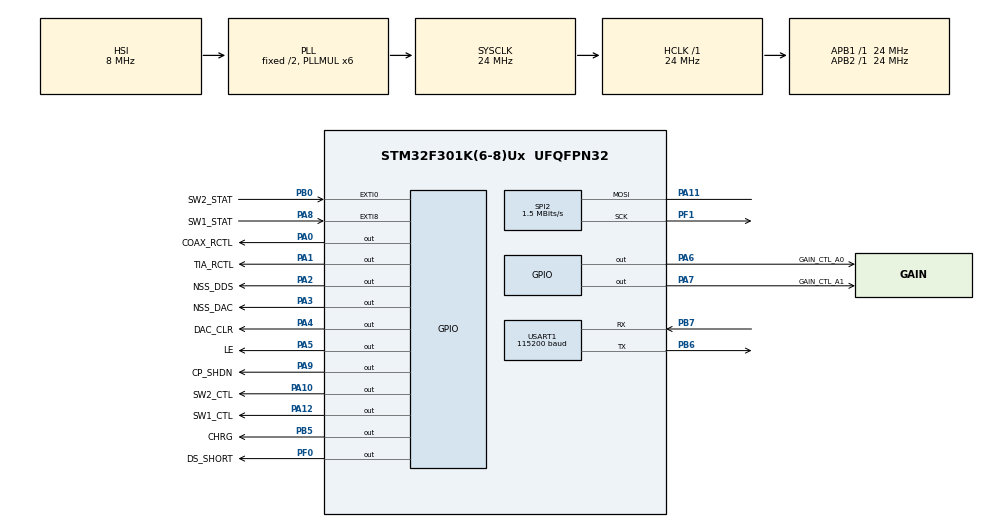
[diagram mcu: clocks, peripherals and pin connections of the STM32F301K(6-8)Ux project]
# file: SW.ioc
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CRC.CRCLength=CRC_POLYLENGTH_8B
CRC.DefaultInitValueUse=DEFAULT_INIT_VALUE_DISABLE
CRC.DefaultPolynomialUse=DEFAULT_POLYNOMIAL_DISABLE
CRC.InputDataFormat=CRC_INPUTDATA_FORMAT_HALFWORDS
Dma.Request0=USART1_RX
Dma.USART1_RX.0.Direction=DMA_PERIPH_TO_MEMORY
Dma.USART1_RX.0.Instance=DMA1_Channel5
Dma.USART1_RX.0.MemDataAlignment=DMA_MDATAALIGN_BYTE
Dma.USART1_RX.0.MemInc=DMA_MINC_ENABLE
Dma.USART1_RX.0.Mode=DMA_NORMAL
Dma.USART1_RX.0.PeriphDataAlignment=DMA_PDATAALIGN_BYTE
Dma.USART1_RX.0.PeriphInc=DMA_PINC_DISABLE
Dma.USART1_RX.0.Priority=DMA_PRIORITY_LOW
Mcu.Family=STM32F3
Mcu.Name=STM32F301K(6-8)Ux
Mcu.Package=UFQFPN32
NVIC.DMA1_Channel5_IRQn=true\:2\:0\:true\:false\:true\:false\:true
NVIC.EXTI0_IRQn=true\:0\:0\:false\:false\:true\:true\:true
NVIC.EXTI9_5_IRQn=true\:0\:0\:false\:false\:true\:true\:true
NVIC.PriorityGroup=NVIC_PRIORITYGROUP_4
NVIC.USART1_IRQn=true\:1\:0\:true\:false\:true\:true\:true
PA0.GPIO_Label=COAX_RCTL
PA0.Signal=GPIO_Output
PA1.GPIO_Label=TIA_RCTL
PA1.Signal=GPIO_Output
PA10.GPIO_Label=SW2_CTL
PA10.GPIO_ModeDefaultOutputPP=GPIO_MODE_OUTPUT_OD
PA10.GPIO_PuPd=GPIO_PULLUP
PA10.GPIO_Speed=GPIO_SPEED_FREQ_LOW
PA10.PinState=GPIO_PIN_SET
PA10.Signal=GPIO_Output
PA11.Mode=Simplex_Bidirectional_Master
PA11.Signal=SPI2_MOSI
PA12.GPIO_Label=SW1_CTL
PA12.GPIO_ModeDefaultOutputPP=GPIO_MODE_OUTPUT_OD
PA12.GPIO_PuPd=GPIO_PULLUP
PA12.GPIO_Speed=GPIO_SPEED_FREQ_LOW
PA12.PinState=GPIO_PIN_SET
PA12.Signal=GPIO_Output
PA13.Mode=JTAG_5_pins
PA13.Signal=SYS_JTMS-SWDIO
PA14.Mode=JTAG_5_pins
PA14.Signal=SYS_JTCK-SWCLK
PA15.Mode=JTAG_5_pins
PA15.Signal=SYS_JTDI
PA2.GPIO_Label=NSS_DDS
PA2.PinState=GPIO_PIN_SET
PA2.Signal=GPIO_Output
PA3.GPIO_Label=NSS_DAC
PA3.PinState=GPIO_PIN_SET
PA3.Signal=GPIO_Output
PA4.GPIO_Label=DAC_CLR
PA4.PinState=GPIO_PIN_SET
PA4.Signal=GPIO_Output
PA5.GPIO_Label=LE
PA5.Signal=GPIO_Output
PA6.GPIO_Label=GAIN_CTL_A0
PA6.Signal=GPIO_Output
PA7.GPIO_Label=GAIN_CTL_A1
PA7.Signal=GPIO_Output
PA8.GPIO_Label=SW1_STAT
PA8.Signal=GPXTI8
PA9.GPIO_Label=CP_SHDN
PA9.PinState=GPIO_PIN_SET
PA9.Signal=GPIO_Output
PB0.GPIO_Label=SW2_STAT
PB0.Signal=GPXTI0
PB3.Mode=JTAG_5_pins
PB3.Signal=SYS_JTDO-TRACESWO
PB4.Mode=JTAG_5_pins
PB4.Signal=SYS_NJTRST
PB5.GPIO_Label=CHRG
PB5.Signal=GPIO_Output
PB6.Mode=Asynchronous
PB6.Signal=USART1_TX
PB7.Mode=Asynchronous
PB7.Signal=USART1_RX
PF0-OSC_IN.GPIO_Label=DS_SHORT
PF0-OSC_IN.Signal=GPIO_Output
PF1-OSC_OUT.Mode=Simplex_Bidirectional_Master
PF1-OSC_OUT.Signal=SPI2_SCK
ProjectManager.HeapSize=0x200
ProjectManager.StackSize=0x400
ProjectManager.TargetToolchain=MDK-ARM V5
RCC.AHBFreq_Value=24000000
RCC.APB1Freq_Value=24000000
RCC.APB1TimFreq_Value=24000000
RCC.APB2Freq_Value=24000000
RCC.APB2TimFreq_Value=24000000
RCC.CortexFreq_Value=24000000
RCC.HCLKFreq_Value=24000000
RCC.HSE_VALUE=8000000
RCC.HSI_VALUE=8000000
RCC.PLLMUL=RCC_PLL_MUL6
RCC.RCC_MCOSource=RCC_MCO1SOURCE_PLLCLK
RCC.SYSCLKFreq_VALUE=24000000
RCC.SYSCLKSourceVirtual=RCC_SYSCLKSOURCE_PLLCLK
SPI2.BaudRatePrescaler=SPI_BAUDRATEPRESCALER_16
SPI2.CLKPolarity=SPI_POLARITY_HIGH
SPI2.CalculateBaudRate=1.5 MBits/s
SPI2.DataSize=SPI_DATASIZE_8BIT
SPI2.Direction=SPI_DIRECTION_1LINE
SPI2.Mode=SPI_MODE_MASTER
SPI2.NSSPMode=SPI_NSS_PULSE_DISABLE
SPI2.VirtualType=VM_MASTER
USART1.BaudRate=115200
USART1.Parity=PARITY_NONE
USART1.VirtualMode-Asynchronous=VM_ASYNC
VP_CRC_VS_CRC.Mode=CRC_Activate
board=custom

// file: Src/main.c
/* USER CODE BEGIN Header */
/**
  ******************************************************************************
  * @file           : main.c
  * @brief          : Main program body
  ******************************************************************************
  * @attention
  *
  * <h2><center>&copy; Copyright (c) 2019 STMicroelectronics.
  * All rights reserved.</center></h2>
  *
  * This software component is licensed by ST under BSD 3-Clause license,
  * the "License"; You may not use this file except in compliance with the
  * License. You may obtain a copy of the License at:
  *                        opensource.org/licenses/BSD-3-Clause
  *
  ******************************************************************************
  */
/* USER CODE END Header */

#include "main.h"
#include "crc.h"
#include "dma.h"
#include "spi.h"
#include "usart.h"
#include "gpio.h"

/* USER CODE BEGIN Includes */
#include "ad5663.h"
#include "ad9833.h"
#include "protocol.h"
#include <string.h>

/* USER CODE END Includes */

/* USER CODE BEGIN PV */
AD5663_TypeDef ad5663 = {0};
_FRAME_TypeDef rx_frame = {0};
_FRAME_TypeDef tx_frame = {0};
SystemState_Typedef system;
uint8_t error = ERRCODE_NOERR;

/* USER CODE END PV */

void SystemClock_Config(void);

int main(void)
{

  /* MCU Configuration--------------------------------------------------------*/

  /* Reset of all peripherals, Initializes the Flash interface and the Systick. */
  HAL_Init();

  /* Configure the system clock */
  SystemClock_Config();

  __disable_irq();

  /* Initialize all configured peripherals */
  MX_GPIO_Init();
  MX_DMA_Init();
  MX_SPI2_Init();
  MX_USART1_UART_Init();
  MX_CRC_Init();
  /* USER CODE BEGIN 2 */
  SetGain(_1V_mA);
  SetMainSwitchState(OPEN);

  ad5663.WriteRegister   = WriteRegister;
  ad5663.Clear           = Clear;
  ad5663.reset_mode      = SOFT;
  ad5663.DAC_A_latch     = HW;
  ad5663.DAC_B_latch     = HW;
  ad5663.DAC_A_pwdn_mode = NORMAL_OP;
  ad5663.DAC_B_pwdn_mode = NORMAL_OP;

  AD5663_Reset(&ad5663);

  system.high_threshold = 65535;
  AD5663_SetInputCode(&ad5663, AD5663_DAC_B_ADDR, AD5663_COMM_WRITE, system.high_threshold);

  __HAL_GPIO_EXTI_CLEAR_IT(GPIO_PIN_0);
  __HAL_GPIO_EXTI_CLEAR_IT(GPIO_PIN_8);
  HAL_NVIC_ClearPendingIRQ(EXTI0_IRQn);
  HAL_NVIC_ClearPendingIRQ(EXTI9_5_IRQn);

  __enable_irq();

  SetCmpLatchState(NORMAL);
  HAL_Delay(1);
  SetCmpLatchState(LATCHED);
  HAL_Delay(1);
  SetSrcCurrentPath(COAX);

  AD9833_SetRegisterValue(0x2100);
  AD9833_SetRegisterValue(0x4DB8);
  AD9833_SetRegisterValue(0x400E);
  AD9833_SetRegisterValue(0xC000);
  AD9833_SetRegisterValue(0x2000);

  HAL_UART_Receive_DMA(&huart1, (uint8_t*)&rx_frame, sizeof(rx_frame));
  /* USER CODE END 2 */

  /* Infinite loop */
  /* USER CODE BEGIN WHILE */
  while (1)
  {
    HAL_PWR_EnterSLEEPMode(PWR_MAINREGULATOR_ON, PWR_SLEEPENTRY_WFI);
    /* USER CODE END WHILE */

  }
}

void SystemClock_Config(void)
{
  RCC_OscInitTypeDef RCC_OscInitStruct = {0};
  RCC_ClkInitTypeDef RCC_ClkInitStruct = {0};
  RCC_PeriphCLKInitTypeDef PeriphClkInit = {0};

  /** Initializes the CPU, AHB and APB busses clocks
  */
  RCC_OscInitStruct.OscillatorType = RCC_OSCILLATORTYPE_HSI;
  RCC_OscInitStruct.HSIState = RCC_HSI_ON;
  RCC_OscInitStruct.HSICalibrationValue = RCC_HSICALIBRATION_DEFAULT;
  RCC_OscInitStruct.PLL.PLLState = RCC_PLL_ON;
  RCC_OscInitStruct.PLL.PLLSource = RCC_PLLSOURCE_HSI;
  RCC_OscInitStruct.PLL.PLLMUL = RCC_PLL_MUL6;
  if (HAL_RCC_OscConfig(&RCC_OscInitStruct) != HAL_OK)
  {
    Error_Handler();
  }
  /** Initializes the CPU, AHB and APB busses clocks
  */
  RCC_ClkInitStruct.ClockType = RCC_CLOCKTYPE_HCLK|RCC_CLOCKTYPE_SYSCLK
                              |RCC_CLOCKTYPE_PCLK1|RCC_CLOCKTYPE_PCLK2;
  RCC_ClkInitStruct.SYSCLKSource = RCC_SYSCLKSOURCE_PLLCLK;
  RCC_ClkInitStruct.AHBCLKDivider = RCC_SYSCLK_DIV1;
  RCC_ClkInitStruct.APB1CLKDivider = RCC_HCLK_DIV1;
  RCC_ClkInitStruct.APB2CLKDivider = RCC_HCLK_DIV1;

  if (HAL_RCC_ClockConfig(&RCC_ClkInitStruct, FLASH_LATENCY_0) != HAL_OK)
  {
    Error_Handler();
  }
  PeriphClkInit.PeriphClockSelection = RCC_PERIPHCLK_USART1;
  PeriphClkInit.Usart1ClockSelection = RCC_USART1CLKSOURCE_PCLK1;
  if (HAL_RCCEx_PeriphCLKConfig(&PeriphClkInit) != HAL_OK)
  {
    Error_Handler();
  }
}

/* USER CODE BEGIN 4 */
void SetGain(GAIN_TypeDef gain)
{
    switch (gain)
    {
        case _1V_mA:
            HAL_GPIO_WritePin(GAIN_CTL_A0_GPIO_Port, GAIN_CTL_A0_Pin, GPIO_PIN_SET);
            HAL_GPIO_WritePin(GAIN_CTL_A0_GPIO_Port, GAIN_CTL_A1_Pin, GPIO_PIN_RESET);
            break;
        case _10V_mA:
            HAL_GPIO_WritePin(GAIN_CTL_A0_GPIO_Port, GAIN_CTL_A1_Pin, GPIO_PIN_SET);
            HAL_GPIO_WritePin(GAIN_CTL_A0_GPIO_Port, GAIN_CTL_A0_Pin, GPIO_PIN_RESET);
            break;
        case _100V_mA:
            HAL_GPIO_WritePin(GAIN_CTL_A0_GPIO_Port, GAIN_CTL_A0_Pin|GAIN_CTL_A1_Pin, GPIO_PIN_SET);
            break;
        case INF:
            HAL_GPIO_WritePin(GAIN_CTL_A0_GPIO_Port, GAIN_CTL_A0_Pin|GAIN_CTL_A1_Pin, GPIO_PIN_RESET);
            break;
    }
}

int SetSrcCurrentPath(SourceCurrentPath_TypeDef path)
{
    static uint8_t busy = 0;
    if (!busy)
    {
        busy = 1;
        HAL_GPIO_WritePin(DS_SHORT_GPIO_Port, DS_SHORT_Pin, GPIO_PIN_RESET);
        HAL_GPIO_WritePin(COAX_RCTL_GPIO_Port, COAX_RCTL_Pin, GPIO_PIN_RESET);
        HAL_GPIO_WritePin(TIA_RCTL_GPIO_Port, TIA_RCTL_Pin, GPIO_PIN_RESET);
        HAL_Delay(100);
        switch (path)
        {
            case COAX:
                HAL_GPIO_WritePin(DS_SHORT_GPIO_Port, DS_SHORT_Pin, GPIO_PIN_RESET);
                HAL_GPIO_WritePin(COAX_RCTL_GPIO_Port, COAX_RCTL_Pin, GPIO_PIN_SET);
                HAL_GPIO_WritePin(TIA_RCTL_GPIO_Port, TIA_RCTL_Pin, GPIO_PIN_RESET);
                break;
            case TIA:
                HAL_GPIO_WritePin(DS_SHORT_GPIO_Port, DS_SHORT_Pin, GPIO_PIN_RESET);
                HAL_GPIO_WritePin(COAX_RCTL_GPIO_Port, COAX_RCTL_Pin, GPIO_PIN_RESET);
                HAL_GPIO_WritePin(TIA_RCTL_GPIO_Port, TIA_RCTL_Pin, GPIO_PIN_SET);
                break;
            case DRAIN:
                HAL_GPIO_WritePin(DS_SHORT_GPIO_Port, DS_SHORT_Pin, GPIO_PIN_SET);
                HAL_GPIO_WritePin(COAX_RCTL_GPIO_Port, COAX_RCTL_Pin, GPIO_PIN_RESET);
                HAL_GPIO_WritePin(TIA_RCTL_GPIO_Port, TIA_RCTL_Pin, GPIO_PIN_RESET);
                break;
        }
        HAL_Delay(100);
    }
    else goto ERROR;
    busy = 0;
    return 0;
ERROR:
    return -1;
}

void SetCmpLatchState(CmpLatchState_TypeDef state)
{
    HAL_GPIO_WritePin(LE_GPIO_Port, LE_Pin, (GPIO_PinState)state);
}

void SetMainSwitchState(MainSwitchState_Typedef state)
{
    if (state == OPEN)
    {
        __HAL_GPIO_EXTI_CLEAR_IT(GPIO_PIN_0);
        __HAL_GPIO_EXTI_CLEAR_IT(GPIO_PIN_8);
        HAL_NVIC_ClearPendingIRQ(EXTI0_IRQn);
        HAL_NVIC_ClearPendingIRQ(EXTI9_5_IRQn);
        HAL_NVIC_EnableIRQ(EXTI0_IRQn);
        HAL_NVIC_EnableIRQ(EXTI9_5_IRQn);
    }
    HAL_GPIO_WritePin(CHRG_GPIO_Port, CHRG_Pin, (GPIO_PinState)state);
}

#define _CHANGED(x) (state->x != prev_state.x)

int SetSystemState(SystemState_Typedef* state)
{
    int ret = 0;
    static SystemState_Typedef prev_state;
    if (memcmp(&prev_state, state, sizeof(prev_state)) != 0)
    {
        SetCmpLatchState(LATCHED);
        HAL_Delay(1);
        if _CHANGED(gain)
            SetGain(state->gain);
        if _CHANGED(main_switch_state)
            SetMainSwitchState(state->main_switch_state);
        if _CHANGED(low_threshold)
            ret |= AD5663_SetInputCode(&ad5663, AD5663_DAC_A_ADDR, AD5663_COMM_WRITE, state->low_threshold);
        if _CHANGED(high_threshold)
            ret |= AD5663_SetInputCode(&ad5663, AD5663_DAC_B_ADDR, AD5663_COMM_WRITE, state->high_threshold);
        if _CHANGED(current_path)
            ret |= SetSrcCurrentPath(state->current_path);
        memcpy(&prev_state, state, sizeof(prev_state));
        HAL_Delay(1);
        SetCmpLatchState(state->cmp_latch_state);
    }
    return ret;
}

#undef _CHANGED

/* USER CODE END 4 */

void Error_Handler(void)
{
}

/************************ (C) COPYRIGHT STMicroelectronics *****END OF FILE****/
